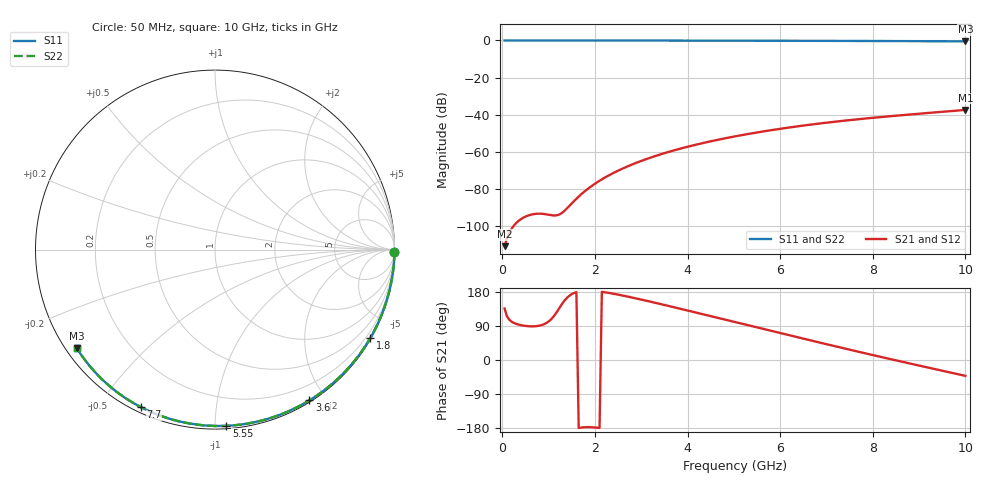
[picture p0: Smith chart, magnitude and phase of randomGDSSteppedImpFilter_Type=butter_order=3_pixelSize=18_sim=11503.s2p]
! freq	dB(S11)	phase(S11)	dB(S12)	phase(S12)
!  dB(S21)	phase(S21)	dB(S22)	phase(S22)
!S-par simulation data
#  GHz  S  DB  R 50
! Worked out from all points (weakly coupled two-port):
!   200 points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, 50 MHz to 10 GHz, reference 50 ohm
!   highest |S21| = -37.35 dB at 10 GHz (marker M1); lowest = -110.6 dB at 50 MHz (marker M2)
!   lowest |S11| = -0.5 dB at 10 GHz (marker M3), VSWR 35.87, Z = 1.54 - j16 ohm
!   |S11| at or under -10 dB: nowhere
!   |S22| runs from -0.5 to 0.0 dB; largest |S21 - S12| = 0
!   S11 on the Smith chart (normalised r, x): 50 MHz: open; 1.8 GHz: 0.03, -3.77; 3.6 GHz: 0.02, -1.81; 5.55 GHz: 0.02, -1.07; 7.7 GHz: 0.02, -0.63; 10 GHz: 0.03, -0.32
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0.05  -0.00 -0.8  -110.63 135.9  -110.63 135.9  -0.00 -0.8
0.45  -0.01 -7.5  -95.36 90.8  -95.36 90.8  -0.01 -7.5
0.9  -0.02 -15.0  -93.32 94.4  -93.32 94.4  -0.02 -15.0
1.75  -0.04 -28.9  -81.74 -177.6  -81.74 -177.6  -0.04 -28.9
1.8  -0.04 -29.7  -80.71 -177.3  -80.71 -177.3  -0.04 -29.7
1.85  -0.04 -30.5  -79.74 -177.2  -79.74 -177.2  -0.04 -30.5
2  -0.04 -32.9  -77.06 -178.1  -77.06 -178.1  -0.04 -32.9
2.15  -0.05 -35.3  -74.69 179.9  -74.69 179.9  -0.05 -35.3
2.35  -0.05 -38.5  -71.90 176.0  -71.90 176.0  -0.05 -38.5
2.55  -0.05 -41.7  -69.44 171.4  -69.44 171.4  -0.05 -41.7
2.95  -0.06 -48.0  -65.25 160.9  -65.25 160.9  -0.06 -48.0
3.4  -0.07 -54.9  -61.38 148.2  -61.38 148.2  -0.07 -54.9
3.6  -0.08 -58.0  -59.87 142.4  -59.87 142.4  -0.08 -58.0
4.3  -0.10 -68.4  -55.35 121.7  -55.35 121.7  -0.10 -68.4
5.05  -0.12 -79.3  -51.46 99.4  -51.46 99.4  -0.12 -79.3
5.55  -0.14 -86.3  -49.27 84.5  -49.27 84.5  -0.14 -86.3
6.1  -0.17 -93.9  -47.15 68.2  -47.15 68.2  -0.17 -93.9
6.7  -0.20 -102.0  -45.13 50.5  -45.13 50.5  -0.20 -102.0
7.7  -0.26 -115.2  -42.33 21.5  -42.33 21.5  -0.26 -115.2
8.35  -0.32 -123.5  -40.79 3.2  -40.79 3.2  -0.32 -123.5
9.2  -0.40 -134.4  -38.98 -20.1  -38.98 -20.1  -0.40 -134.4
10  -0.48 -144.6  -37.35 -41.8  -37.35 -41.8  -0.48 -144.6
